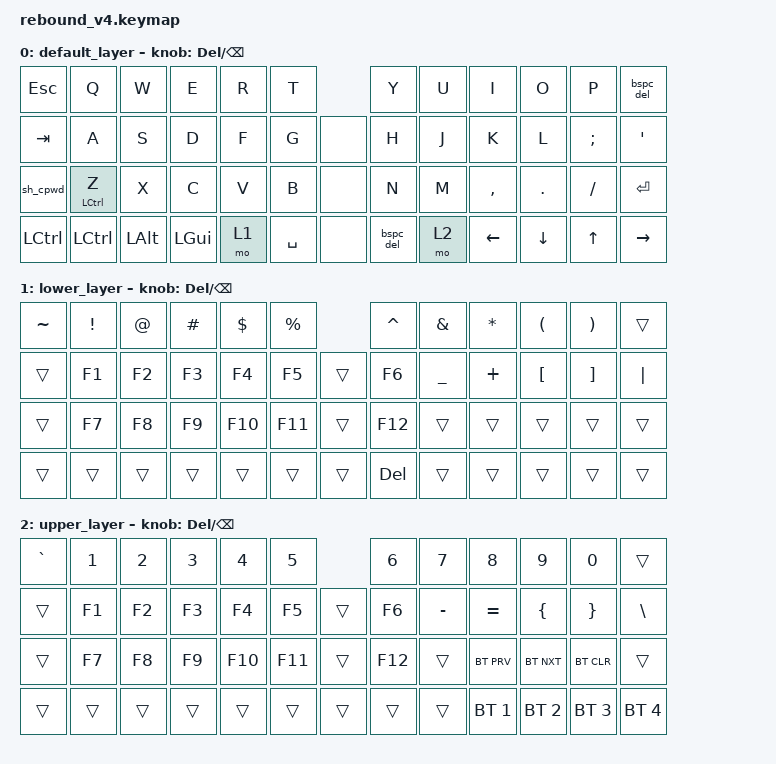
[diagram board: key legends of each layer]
/*
 * Copyright (c) 2020 The ZMK Contributors
 *
 * SPDX-License-Identifier: MIT
 */

#include <behaviors.dtsi>
#include <dt-bindings/zmk/keys.h>
#include <dt-bindings/zmk/bt.h>
#include <dt-bindings/zmk/modifiers.h>
#include <dt-bindings/zmk/outputs.h>

#define default_layer 0
#define lower_layer   1
#define upper_layer   2

/ {
    behaviors {
        hm: homerow_mods {
            compatible = "zmk,behavior-hold-tap";
            label = "HOMEROW_MODS";
            #binding-cells = <2>;
            tapping-term-ms = <175>;
            flavor = "tap-preferred";
            bindings = <&kp>, <&kp>;
        };
		bspc_del: backspace_delete {
            compatible = "zmk,behavior-mod-morph";
            label = "BACKSPACE_DELETE";
            #binding-cells = <0>;
            bindings = <&kp BACKSPACE>, <&kp DELETE>;
            mods = <(MOD_LSFT)>;
        };
		sh_cpwd: shift_capsword {
            compatible = "zmk,behavior-tap-dance";
            label = "SHIFT_CAPSWORD";
            #binding-cells = <0>;
            tapping-term-ms = <200>;
            bindings = <&kp LEFT_SHIFT>, <&caps_word>;
        };
    };

    keymap {
        compatible = "zmk,keymap";
        
        default_layer {
// ----------------------------------------------------------------------------------------------------------------
// |  ESC  |   Q   |   W   |   E    |  R  |   T  |                |  Y  |    U   |   I   |   O   |   P   |BSPC/DEL|
// |  TAB  |   A   |   S   |   D    |  F  |   G  |    |      |    |  H  |    J   |   K   |   L   |   '   |   '    |
// |SHFT/CW|CTRL/Z |   X   |   C    |  V  |   B  |    |      |    |  N  |    M   |   ,   |   .   |   /   | RETURN |
// | CTRL  | CTRL  |  ALT  |  GUI   | LWR |  SPC |    |      |    |BSPC |  RAISE | LEFT  |  DOWN |  UP   | RIGHT  |
// ----------------------------------------------------------------------------------------------------------------
		bindings = <
&kp ESC &kp Q &kp W &kp E &kp R &kp T &kp Y &kp U &kp I &kp O &kp P &bspc_del
&kp TAB &kp A &kp S &kp D &kp F &kp G &none &kp H &kp J &kp K &kp L &kp SEMI &kp APOS
&sh_cpwd &mt LEFT_CONTROL Z &kp X &kp C &kp V &kp B &none &kp N &kp M &kp COMMA &kp PERIOD &kp FSLH &kp RETURN
&kp LEFT_CONTROL &kp LEFT_CONTROL &kp LEFT_ALT &kp LEFT_GUI &mo 1 &kp SPACE &none &bspc_del &mo 2 &kp LEFT_ARROW &kp DOWN_ARROW &kp UP_ARROW &kp RIGHT_ARROW
                        >;

			sensor-bindings = <&inc_dec_kp DEL BSPC>;
                };

        lower_layer {
// -----------------------------------------------------------------------------------------
// |  ~  |  !  |  @  |  #  |  $  |  %  |                |  ^  |  &  |  *  | '(' | ')' |     |
// |     |  F1 |  F2 |  F3 |  F4 |  F5 |    |      |    |  F6 |  _  |  +  |  {  |  }  | '|' |
// |     |  F7 |  F8 |  F9 | F10 | F11 |    |      |    | F12 |     |     |     |     |     |
// |     |     |     |     |     |     |    |      |    | DEL |     |     |     |     |     |
// -----------------------------------------------------------------------------------------
		bindings = <
&kp TILDE &kp EXCL &kp AT &kp HASH &kp DOLLAR &kp PERCENT &kp CARET &kp AMPERSAND &kp STAR &kp LPAR &kp RPAR &trans
&trans &kp F1 &kp F2 &kp F3 &kp F4 &kp F5 &trans &kp F6 &kp UNDERSCORE &kp PLUS &kp LEFT_BRACKET &kp RIGHT_BRACKET &kp PIPE
&trans &kp F7 &kp F8 &kp F9 &kp F10 &kp F11 &trans &kp F12 &trans &trans &trans &trans &trans 
&trans &trans &trans &trans &trans &trans &trans &kp DELETE &trans &trans &trans &trans &trans 
                        >;

			sensor-bindings = <&inc_dec_kp DEL BSPC>;
                };

        upper_layer {
// -----------------------------------------------------------------------------------------
// |  `  |  1  |  2  |  3  |  4  |  5  |                |  6  |  7  |  8   |  9   |  0   |     |
// |     |  F1 |  F2 |  F3 |  F4 |  F5 |    |      |    |  F6 |  -  |  =   |  [   |  ]   |  \  |
// |     |  F7 |  F8 |  F9 | F10 | F11 |    |      |    | F12 |     |BT_PRV|BT_NXT|BT_CLR|     |
// |     |     |     |     |     |     |    |      |    |     |     | BT1  | BT2  | BT3  | BT4 |
// -----------------------------------------------------------------------------------------
		bindings = <
&kp GRAVE &kp N1 &kp N2 &kp N3 &kp N4 &kp N5 &kp N6 &kp N7 &kp N8 &kp N9 &kp N0 &trans
&trans &kp F1 &kp F2 &kp F3 &kp F4 &kp F5 &trans &kp F6 &kp MINUS &kp EQUAL &kp LEFT_BRACE &kp RIGHT_BRACE &kp BSLH
&trans &kp F7 &kp F8 &kp F9 &kp F10 &kp F11 &trans &kp F12 &trans &bt BT_PRV &bt BT_NXT &bt BT_CLR &trans 
&trans &trans &trans &trans &trans &trans &trans &trans &trans &bt BT_SEL 1 &bt BT_SEL 2 &bt BT_SEL 3 &bt BT_SEL 4 
                        >;

			sensor-bindings = <&inc_dec_kp DEL BSPC>;
                };

	};
};
